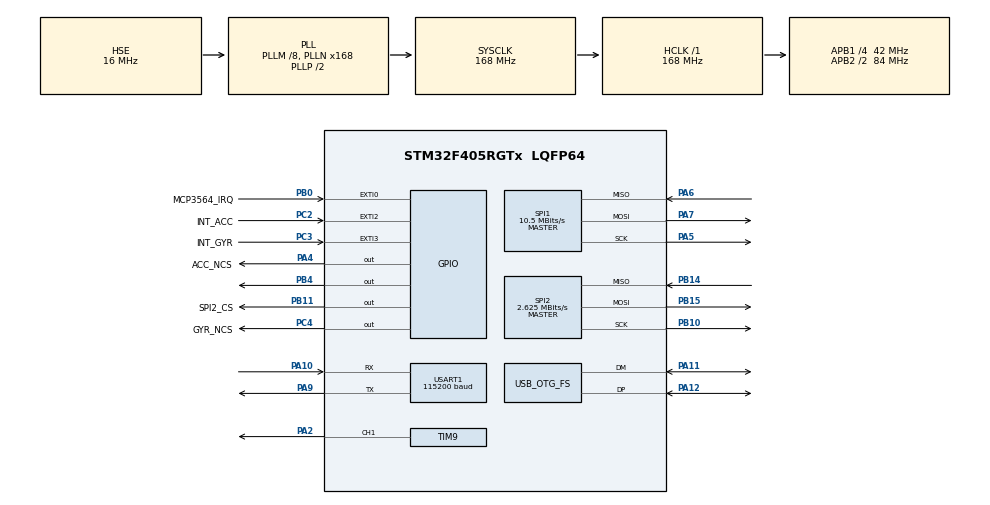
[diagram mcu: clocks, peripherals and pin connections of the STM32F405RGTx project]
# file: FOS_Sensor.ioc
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Dma.Request0=SPI1_RX
Dma.Request1=SPI1_TX
Dma.Request2=USART1_TX
Dma.Request3=SPI2_RX
Dma.Request4=SPI2_TX
Dma.SPI1_RX.0.Direction=DMA_PERIPH_TO_MEMORY
Dma.SPI1_RX.0.FIFOMode=DMA_FIFOMODE_DISABLE
Dma.SPI1_RX.0.Instance=DMA2_Stream0
Dma.SPI1_RX.0.MemDataAlignment=DMA_MDATAALIGN_BYTE
Dma.SPI1_RX.0.MemInc=DMA_MINC_ENABLE
Dma.SPI1_RX.0.Mode=DMA_NORMAL
Dma.SPI1_RX.0.PeriphDataAlignment=DMA_PDATAALIGN_BYTE
Dma.SPI1_RX.0.PeriphInc=DMA_PINC_DISABLE
Dma.SPI1_RX.0.Priority=DMA_PRIORITY_HIGH
Dma.SPI1_TX.1.Direction=DMA_MEMORY_TO_PERIPH
Dma.SPI1_TX.1.FIFOMode=DMA_FIFOMODE_DISABLE
Dma.SPI1_TX.1.Instance=DMA2_Stream3
Dma.SPI1_TX.1.MemDataAlignment=DMA_MDATAALIGN_BYTE
Dma.SPI1_TX.1.MemInc=DMA_MINC_ENABLE
Dma.SPI1_TX.1.Mode=DMA_NORMAL
Dma.SPI1_TX.1.PeriphDataAlignment=DMA_PDATAALIGN_BYTE
Dma.SPI1_TX.1.PeriphInc=DMA_PINC_DISABLE
Dma.SPI1_TX.1.Priority=DMA_PRIORITY_MEDIUM
Dma.SPI2_RX.3.Direction=DMA_PERIPH_TO_MEMORY
Dma.SPI2_RX.3.FIFOMode=DMA_FIFOMODE_DISABLE
Dma.SPI2_RX.3.Instance=DMA1_Stream3
Dma.SPI2_RX.3.MemDataAlignment=DMA_MDATAALIGN_BYTE
Dma.SPI2_RX.3.MemInc=DMA_MINC_ENABLE
Dma.SPI2_RX.3.Mode=DMA_NORMAL
Dma.SPI2_RX.3.PeriphDataAlignment=DMA_PDATAALIGN_BYTE
Dma.SPI2_RX.3.PeriphInc=DMA_PINC_DISABLE
Dma.SPI2_RX.3.Priority=DMA_PRIORITY_VERY_HIGH
Dma.SPI2_TX.4.Direction=DMA_MEMORY_TO_PERIPH
Dma.SPI2_TX.4.FIFOMode=DMA_FIFOMODE_DISABLE
Dma.SPI2_TX.4.Instance=DMA1_Stream4
Dma.SPI2_TX.4.MemDataAlignment=DMA_MDATAALIGN_BYTE
Dma.SPI2_TX.4.MemInc=DMA_MINC_ENABLE
Dma.SPI2_TX.4.Mode=DMA_NORMAL
Dma.SPI2_TX.4.PeriphDataAlignment=DMA_PDATAALIGN_BYTE
Dma.SPI2_TX.4.PeriphInc=DMA_PINC_DISABLE
Dma.SPI2_TX.4.Priority=DMA_PRIORITY_VERY_HIGH
Dma.USART1_TX.2.Direction=DMA_MEMORY_TO_PERIPH
Dma.USART1_TX.2.FIFOMode=DMA_FIFOMODE_DISABLE
Dma.USART1_TX.2.Instance=DMA2_Stream7
Dma.USART1_TX.2.MemDataAlignment=DMA_MDATAALIGN_BYTE
Dma.USART1_TX.2.MemInc=DMA_MINC_ENABLE
Dma.USART1_TX.2.Mode=DMA_NORMAL
Dma.USART1_TX.2.PeriphDataAlignment=DMA_PDATAALIGN_BYTE
Dma.USART1_TX.2.PeriphInc=DMA_PINC_DISABLE
Dma.USART1_TX.2.Priority=DMA_PRIORITY_LOW
Mcu.Family=STM32F4
Mcu.Name=STM32F405RGTx
Mcu.Package=LQFP64
NVIC.DMA1_Stream3_IRQn=true\:0\:0\:false\:false\:true\:false\:true\:true
NVIC.DMA1_Stream4_IRQn=true\:0\:0\:false\:false\:true\:false\:true\:true
NVIC.DMA2_Stream0_IRQn=true\:0\:0\:false\:false\:true\:false\:true\:true
NVIC.DMA2_Stream3_IRQn=true\:0\:0\:false\:false\:true\:false\:true\:true
NVIC.DMA2_Stream7_IRQn=true\:0\:0\:false\:false\:true\:false\:true\:true
NVIC.EXTI0_IRQn=true\:0\:0\:false\:false\:true\:true\:true\:true
NVIC.EXTI2_IRQn=true\:0\:0\:true\:false\:true\:true\:true\:true
NVIC.EXTI3_IRQn=true\:0\:0\:true\:false\:true\:true\:true\:true
NVIC.OTG_FS_IRQn=true\:0\:0\:false\:false\:true\:false\:true\:true
NVIC.PriorityGroup=NVIC_PRIORITYGROUP_4
NVIC.SPI1_IRQn=true\:0\:0\:false\:false\:true\:true\:true\:true
NVIC.SPI2_IRQn=true\:0\:0\:false\:false\:true\:true\:true\:true
NVIC.TIM2_IRQn=true\:0\:0\:false\:false\:true\:true\:true\:true
NVIC.TIM3_IRQn=true\:0\:0\:false\:false\:true\:true\:true\:true
NVIC.TIM4_IRQn=true\:0\:0\:false\:false\:true\:true\:true\:true
NVIC.USART1_IRQn=true\:0\:0\:false\:false\:true\:true\:true\:true
PA10.Mode=Asynchronous
PA10.Signal=USART1_RX
PA11.Mode=Device_Only
PA11.Signal=USB_OTG_FS_DM
PA12.Mode=Device_Only
PA12.Signal=USB_OTG_FS_DP
PA13.Mode=Trace_Asynchronous_SW
PA13.Signal=SYS_JTMS-SWDIO
PA14.Mode=Trace_Asynchronous_SW
PA14.Signal=SYS_JTCK-SWCLK
PA2.Signal=S_TIM9_CH1
PA4.GPIO_Label=ACC_NCS
PA4.Signal=GPIO_Output
PA5.Mode=Full_Duplex_Master
PA5.Signal=SPI1_SCK
PA6.Mode=Full_Duplex_Master
PA6.Signal=SPI1_MISO
PA7.Mode=Full_Duplex_Master
PA7.Signal=SPI1_MOSI
PA9.Mode=Asynchronous
PA9.Signal=USART1_TX
PB0.GPIO_Label=MCP3564_IRQ
PB0.GPIO_ModeDefaultEXTI=GPIO_MODE_IT_FALLING
PB0.Signal=GPXTI0
PB10.Mode=Full_Duplex_Master
PB10.Signal=SPI2_SCK
PB11.GPIO_Label=SPI2_CS
PB11.Signal=GPIO_Output
PB14.Mode=Full_Duplex_Master
PB14.Signal=SPI2_MISO
PB15.Mode=Full_Duplex_Master
PB15.Signal=SPI2_MOSI
PB3.Mode=Trace_Asynchronous_SW
PB3.Signal=SYS_JTDO-SWO
PB4.Signal=GPIO_Output
PC2.GPIO_Label=INT_ACC
PC2.Signal=GPXTI2
PC3.GPIO_Label=INT_GYR
PC3.Signal=GPXTI3
PC4.GPIO_Label=GYR_NCS
PC4.Signal=GPIO_Output
PH0-OSC_IN.Mode=HSE-External-Oscillator
PH0-OSC_IN.Signal=RCC_OSC_IN
PH1-OSC_OUT.Mode=HSE-External-Oscillator
PH1-OSC_OUT.Signal=RCC_OSC_OUT
ProjectManager.HeapSize=0x200
ProjectManager.StackSize=0x400
ProjectManager.TargetToolchain=STM32CubeIDE
RCC.48MHZClocksFreq_Value=48000000
RCC.AHBFreq_Value=168000000
RCC.APB1CLKDivider=RCC_HCLK_DIV4
RCC.APB1Freq_Value=42000000
RCC.APB1TimFreq_Value=84000000
RCC.APB2CLKDivider=RCC_HCLK_DIV2
RCC.APB2Freq_Value=84000000
RCC.APB2TimFreq_Value=168000000
RCC.CortexFreq_Value=168000000
RCC.HCLKFreq_Value=168000000
RCC.HSE_VALUE=16000000
RCC.HSI_VALUE=16000000
RCC.LSE_VALUE=32768
RCC.PLLM=8
RCC.PLLN=168
RCC.PLLQ=7
RCC.SYSCLKFreq_VALUE=168000000
RCC.SYSCLKSource=RCC_SYSCLKSOURCE_PLLCLK
RCC.VCOOutputFreq_Value=336000000
SH.S_TIM9_CH1.0=TIM9_CH1,Output Compare1 CH1
SPI1.BaudRatePrescaler=SPI_BAUDRATEPRESCALER_8
SPI1.CalculateBaudRate=10.5 MBits/s
SPI1.Direction=SPI_DIRECTION_2LINES
SPI1.Mode=SPI_MODE_MASTER
SPI1.VirtualType=VM_MASTER
SPI2.BaudRatePrescaler=SPI_BAUDRATEPRESCALER_16
SPI2.CalculateBaudRate=2.625 MBits/s
SPI2.Direction=SPI_DIRECTION_2LINES
SPI2.Mode=SPI_MODE_MASTER
SPI2.VirtualType=VM_MASTER
TIM2.Period=10000-1
TIM2.Prescaler=42-1
TIM3.Period=10000-1
TIM3.Prescaler=42-1
TIM4.Period=10000-1
TIM4.Prescaler=42-1
TIM9.Channel-Output\ Compare1\ CH1=TIM_CHANNEL_1
TIM9.OCMode_1=TIM_OCMODE_TOGGLE
TIM9.Period=17-1
TIM9.Prescaler=0
USART1.BaudRate=115200
USART1.VirtualMode=VM_ASYNC
USB_DEVICE.APP_RX_DATA_SIZE-CDC_FS=2048
USB_DEVICE.APP_TX_DATA_SIZE-CDC_FS=2048
USB_DEVICE.CLASS_NAME_FS=CDC
USB_DEVICE.USBD_MAX_NUM_INTERFACES-CDC_FS=1
USB_DEVICE.VirtualMode-CDC_FS=Cdc
USB_DEVICE.VirtualModeFS=Cdc_FS
USB_OTG_FS.VirtualMode=Device_Only
VP_TIM2_VS_ClockSourceINT.Mode=Internal
VP_TIM3_VS_ClockSourceINT.Mode=Internal
VP_TIM4_VS_ClockSourceINT.Mode=Internal
VP_TIM9_VS_ClockSourceINT.Mode=Internal
VP_USB_DEVICE_VS_USB_DEVICE_CDC_FS.Mode=CDC_FS
board=custom

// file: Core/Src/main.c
/* USER CODE BEGIN Header */
/**
  ******************************************************************************
  * @file           : main.c
  * @brief          : Main program body
  * @autor			: CriIera
  ******************************************************************************
  * @attention
  *
  * Copyright (c) 2025 STMicroelectronics.
  * All rights reserved.
  *
  * This software is licensed under terms that can be found in the LICENSE file
  * in the root directory of this software component.
  * If no LICENSE file comes with this software, it is provided AS-IS.
  *
  ******************************************************************************
  */
/* USER CODE END Header */
#include "main.h"
#include "usb_device.h"

/* USER CODE BEGIN Includes */
#include "usbd_cdc_if.h"
#include "BMI088.h"
#include <stdio.h>
//#include "EKF.h"
#include "ComputeOrientation.h"
#include "Filters.h"
#include "MadgwickAHRS.h"
#include <math.h>
#include "string.h"
#include "stdlib.h"
#include "mcp3564.h"

//#ifdef USE_SERIAL
	//#include "Serial_Comm.h"
//#endif //USE_SERIAL
//#ifdef USE_API
	//#include "API_Comm.h"
//#endif //USE_API

/* USER CODE END Includes */

/* USER CODE BEGIN PD */
//#define SERIAL_OR_API  		0 	// 0 if we use API
								// 1 if we use SERIAL

//#define SAMPLE_TIME_MS_USB  	10
uint32_t SAMPLE_TIME_MS_TOGGLE = 1000;	// For blinking led (to debug the code with the function Toggle(__))

/* USER CODE END PD */

SPI_HandleTypeDef hspi1;
SPI_HandleTypeDef hspi2;
DMA_HandleTypeDef hdma_spi1_rx;
DMA_HandleTypeDef hdma_spi1_tx;
DMA_HandleTypeDef hdma_spi2_rx;
DMA_HandleTypeDef hdma_spi2_tx;

TIM_HandleTypeDef htim2;
TIM_HandleTypeDef htim3;
TIM_HandleTypeDef htim4;
TIM_HandleTypeDef htim9;

UART_HandleTypeDef huart1;
DMA_HandleTypeDef hdma_usart1_tx;

/* USER CODE BEGIN PV */
BMI088 imu;
LPF_FILTER filt;	// Filter object of IMU sensor

/* USER CODE END PV */

void SystemClock_Config(void);
static void MX_GPIO_Init(void);
static void MX_DMA_Init(void);
static void MX_SPI1_Init(void);
static void MX_TIM2_Init(void);
static void MX_TIM3_Init(void);
static void MX_USART1_UART_Init(void);
static void MX_TIM4_Init(void);
static void MX_SPI2_Init(void);
static void MX_TIM9_Init(void);

/* USER CODE BEGIN 0 */

/////////////////////////////////////////////////////////////////////////////////////////////////////////////////
/////// GLOBAL VARIABLES ////////////////////////////////////////////////////////////////////////////////////////
/////////////////////////////////////////////////////////////////////////////////////////////////////////////////
/*------------------------------------------------------------------------*/
/* Clock and period, frequency, params of timers */
const float f_CK = 84000000; 				// [Hz] clock frequency. See .ioc files
float T_TIM2 = 0;							// seconds. This is the call period of the timer TIM2
float F_TIM2 = 0;

uint32_t timestamp_TIM3 = 0;				// Number of times that TIM3 is called (for debug)
uint32_t timestamp_TIM2 = 0;				// Number of times that TIM2 is called (for debug)
uint32_t measureTick = 0;					// Tick corresponding to the timestamp of the current measurement

/*------------------------------------------------------------------------*/
/* Variables for algorithms */
Quaternion q = {1, 0, 0, 0}; 				// Variable for madgwick algorithm. {1,0,0,0} is the Initial state --> not moving

/*------------------------------------------------------------------------*/
/* Shared variables and string to be sent format */
#define PACKET_HEADER 0xAABBCCDD		// header of the packet sent by UART to ESP32
#define PACKET_FOOTER 0XEE8899FF		// footer of the packet sent by UART to ESP32
BinaryPacket pkt;

/*------------------------------------------------------------------------*/
/* Timers */
uint32_t timerUSB = 0;
uint32_t timerToggle = 0;

/*------------------------------------------------------------------------*/
/* Filter params LPF and HPF (Currently the HPF is not used and to correct in "Filters.h")*/
float f_LP_gyr = 5.0f; // LP freq cut frequency in Hz of gyro
float f_LP_acc = 5.0f; // LP freq cut frequency in Hz of acc
float f_LP_angles = 5.0f;  // LP freq cut frequency in Hz of angles values calculation

float f_HP_gyr = 0.0001f; // HP freq cut frequency in Hz of gyro
float f_HP_acc = 0.0001f; // HP freq cut frequency in Hz of acc

/*------------------------------------------------------------------------*/
/* UART rx communication */
/*#define RX_BUFFER_SIZE 32		// dimension of the buffer. the string from ESP32 must have a length
char rx_uart_buff[64];
*/
#define UART_RX_BUFFER_SIZE 64
uint8_t rx_uart_buff[UART_RX_BUFFER_SIZE];
uint8_t rx_byte;
uint16_t rx_index = 0;

/*------------------------------------------------------------------------*/
/* MCP3564R Sensor params */
float adc[4];			// Voltage value of the mesurement of different channels
uint8_t allDiffCh = 0;		// if 1 it means that we are ready for sending data

/*------------------------------------------------------------------------*/

////////////////////////////////////////////////////////////////////////////////////////////////////////////////////////
/////// FUNCTIONS //////////////////////////////////////////////////////////////////////////////////////////////////////
////////////////////////////////////////////////////////////////////////////////////////////////////////////////////////
//++++++++++++++++++++++++++++++++++++++++++++++++++++++++++++++++++++++++++++++++++++++++++++++++++++++++++++++++
//++++++ PRIORITIES SETTINGS +++++++++++++++++++++++++++++++++++++++++++++++++++++++++++++++++++++++++++++++++++++
//++++++++++++++++++++++++++++++++++++++++++++++++++++++++++++++++++++++++++++++++++++++++++++++++++++++++++++++++
void SetPriorities(void)
{
	 HAL_NVIC_SetPriorityGrouping(NVIC_PRIORITYGROUP_2);

	  // DMA: max priority
	  HAL_NVIC_SetPriority(DMA2_Stream0_IRQn, 0, 0);
	  HAL_NVIC_SetPriority(DMA2_Stream3_IRQn, 0, 2);
	  HAL_NVIC_SetPriority(DMA1_Stream3_IRQn, 0, 1);   // RX SPI2
	  HAL_NVIC_SetPriority(DMA1_Stream4_IRQn, 0, 3);   // TX SPI2

	  // USB CDC (OTG_FS) - high but under DMA
	  HAL_NVIC_SetPriority(OTG_FS_IRQn, 0, 4);

	  // EXTI (GPIO sensors)
	  HAL_NVIC_SetPriority(EXTI2_IRQn, 1, 0);
	  HAL_NVIC_SetPriority(EXTI3_IRQn, 1, 1);
	  HAL_NVIC_SetPriority(EXTI4_IRQn, 1, 2);

	  // UART (commands and debug)
	  HAL_NVIC_SetPriority(USART1_IRQn, 1, 3);

	  // Timer - low priority
	  HAL_NVIC_SetPriority(TIM4_IRQn, 2, 0);
	  HAL_NVIC_SetPriority(TIM2_IRQn, 2, 1);  // If we use TIM2

	  // Enable
	  HAL_NVIC_EnableIRQ(DMA2_Stream0_IRQn);
	  HAL_NVIC_EnableIRQ(DMA2_Stream3_IRQn);
	  HAL_NVIC_EnableIRQ(DMA1_Stream3_IRQn);
	  HAL_NVIC_EnableIRQ(DMA1_Stream4_IRQn);
	  HAL_NVIC_EnableIRQ(OTG_FS_IRQn);
	  HAL_NVIC_EnableIRQ(EXTI2_IRQn);
	  HAL_NVIC_EnableIRQ(EXTI3_IRQn);
	  HAL_NVIC_EnableIRQ(EXTI4_IRQn);
	  HAL_NVIC_EnableIRQ(USART1_IRQn);
	  HAL_NVIC_EnableIRQ(TIM4_IRQn);
	  HAL_NVIC_EnableIRQ(TIM2_IRQn);
}

//++++++++++++++++++++++++++++++++++++++++++++++++++++++++++++++++++++++++++++++++++++++++++++++++++++++++++++++++
//+++++ DEBUG FUNCTIONS ++++++++++++++++++++++++++++++++++++++++++++++++++++++++++++++++++++++++++++++++++++++++++
//++++++++++++++++++++++++++++++++++++++++++++++++++++++++++++++++++++++++++++++++++++++++++++++++++++++++++++++++
/// Function that toggles the led of the board to show if the device is working
void Toggle(uint32_t waitingTime)
{
	// Toggle to show if the code is running
	if ((HAL_GetTick() - timerToggle) >= waitingTime)
	{
		HAL_GPIO_TogglePin(GPIOB, GPIO_PIN_4);
		timerToggle = HAL_GetTick();
	}
	timerUSB = HAL_GetTick();
}
/**
 * @brief Prints the contents of a BinaryPacket in hexadecimal format over USB CDC.
 *
 * This function takes a pointer to a BinaryPacket structure, converts its content
 * to hexadecimal representation, and sends it over USB (CDC_Transmit_FS). The output
 * is split into lines of 48 bytes for readability. Each byte is printed as two hex digits
 * followed by a space. A carriage return and newline ("\r\n") is inserted at the end of each line.
 *
 * @param[in] p Pointer to the BinaryPacket structure to be printed.
 */
void print_packet_hex(BinaryPacket* p) {
    uint8_t* bytePtr = (uint8_t*)p;       ///< Pointer to the raw bytes of the packet
    char buffer[248];                     ///< Temporary buffer to hold the formatted string
    int len = 0;                          ///< Current length of the buffer

    for (int i = 0; i < sizeof(BinaryPacket); i++) {
        // Format one byte as two hexadecimal characters followed by a space
        len += snprintf((char*)&buffer[len], sizeof(buffer) - len, "%02X ", bytePtr[i]);

        // Send a line every 48 bytes or at the end of the packet
        if ((i + 1) % 48 == 0 || i == sizeof(BinaryPacket) - 1) {
            buffer[len++] = '\r';
            buffer[len++] = '\n';

            // Transmit the formatted buffer over USB CDC
            CDC_Transmit_FS((uint8_t*)buffer, len);

            // Reset buffer length for the next line
            len = 0;

            // Optional small delay to prevent USB buffer overflow
            // HAL_Delay(1);
        }
    }
}

void Debug_SPI_DMA()
{

  	HAL_SPI_StateTypeDef spiState = imu.spiHandle->State;
  	HAL_DMA_StateTypeDef dmaRxState = imu.spiHandle->hdmarx->State;

  	char txBuff[32];
  	sprintf(txBuff, "%u\t%u\n\r", spiState, dmaRxState);
  	while(CDC_Transmit_FS((uint8_t *) txBuff, strlen(txBuff)) == HAL_BUSY);

  	if (__HAL_DMA_GET_IT_SOURCE(imu.spiHandle->hdmarx, DMA_IT_TC) == RESET)
  	{
  		sprintf(txBuff, "#\n\r");
  		while(CDC_Transmit_FS((uint8_t *) txBuff, strlen(txBuff)) == HAL_BUSY);
  	}
}

//++++++++++++++++++++++++++++++++++++++++++++++++++++++++++++++++++++++++++++++++++++++++++++++++++++++++++++++++
//++++++++++++++++++++++++++++++++++++++++++++++++++++++++++++++++++++++++++++++++++++++++++++++++++++++++++++++++
//+++++ CALLBACK FUNCTIONS +++++++++++++++++++++++++++++++++++++++++++++++++++++++++++++++++++++++++++++++++++++++
//++++++++++++++++++++++++++++++++++++++++++++++++++++++++++++++++++++++++++++++++++++++++++++++++++++++++++++++++
/**
 * @brief UART receive complete callback.
 *
 * This function is called automatically by the HAL library when a UART receive interrupt completes.
 * It accumulates characters into a buffer until a newline or carriage return is received,
 * at which point it null-terminates the string and passes it to the handler.
 *
 * @param huart Pointer to the UART handle structure.
 */
void HAL_UART_RxCpltCallback(UART_HandleTypeDef *huart)
{
    if (huart->Instance == USART1)
    {
        // Check if the received byte is a newline or carriage return
        if (rx_byte == '\n' || rx_byte == '\r')
        {
            rx_uart_buff[rx_index] = '\0';  // Null-terminate the string
            HandleReceivedString((char*)rx_uart_buff);  // Process the received string
            rx_index = 0;  // Reset the buffer index
        }
        else
        {
            // Store the received byte if there's room in the buffer
            if (rx_index < UART_RX_BUFFER_SIZE - 1)
            {
                rx_uart_buff[rx_index++] = rx_byte;
            }
            else
            {
                rx_index = 0;  // Reset index to prevent buffer overflow
            }
        }

        // Restart the UART receive interrupt to get the next byte
        HAL_UART_Receive_IT(&huart1, &rx_byte, 1);
    }
}

/**
 * @brief External interrupt callback.
 *
 * This function is called when a GPIO external interrupt is triggered.
 * It identifies which pin caused the interrupt and starts a corresponding DMA read operation.
 *
 * @param GPIO_Pin The GPIO pin number that triggered the interrupt.
 */
/// DMA Start Reading
void HAL_GPIO_EXTI_Callback(uint16_t GPIO_Pin)
{   // we have an interrupt
	if(GPIO_Pin == INT_ACC_Pin)				/// DMA2
	{
		// we check if the interrupt pin is the accelerometer one
		if (!imu.readingAcc)
			BMI088_ReadAccelerometerDMA(&imu);	// if yes read from the DMA memory
	}
	else if(GPIO_Pin == INT_GYR_Pin)	/// DMA2
	{
		// we check if the interrupt pin is the gyroscope one
		if (!imu.readingGyr)
			BMI088_ReadGyroscopeDMA(&imu);  // if yes read from the DMA memory
	}
	else if (GPIO_Pin == MCP3564_IRQ_Pin) {	/// DMA1
		// interrupt from ADC MCP3564R
		MCP3561_StartReadADCData_DMA(&hspi2);	// Start reading with DMA1
		// allDiffCh = MCP3561_ReadADCData(&hspi2, pkt.adc); // It read the value from the sensor MCP3564R and writes into adc[4]
	}
}

/**
 * @brief SPI transmit/receive complete callback.
 *
 * This function is called when a SPI TxRx (transmit/receive) DMA transfer is completed.
 * It handles the post-transfer logic for both SPI1 (IMU) and SPI2 (ADC).
 *
 * @param hspi Pointer to the SPI handle that triggered the callback.
 */
/// DMA CALLBACK
void HAL_SPI_TxRxCpltCallback(SPI_HandleTypeDef *hspi)		// It tells us that the transfer has been completed
{
	if(hspi->Instance == SPI1)	// SPI1 used for Acc and Gyro
	{
		if (imu.readingAcc)
		{
			// complete processing after accelerometer DMA transfer
			BMI088_ReadAccelerometerDMA_Complete(&imu);
		}

		if (imu.readingGyr)
		{
			// complete processing after gyroscope DMA transfer
			BMI088_ReadGyroscopeDMA_Complete(&imu);
		}
	}
	if (hspi->Instance == SPI2)	// SPI2 used for MCP3564R sensor
	{
		// deselect the MCP3564R chip
		HAL_GPIO_WritePin(SPI2_CS_GPIO_Port, SPI2_CS_Pin, GPIO_PIN_SET);
		// read ADC data from MCP3564R and update global adc[4]
		allDiffCh = MCP3561_ReadADCData_DMA(&hspi2, pkt.adc);	// It changes the global variable adc[4] with the updated values
	}
}

/**
 * @brief Timer period elapsed callback.
 *
 * This function is called by the HAL when a timer overflows (period elapsed).
 * It handles multiple timers:
 * - TIM2: Reads IMU data, filters it, and computes orientation using Madgwick algorithm.
 * - TIM3: Sends formatted IMU and ADC data over USB CDC.
 * - TIM4: Sends raw binary packet via UART using DMA.
 *
 * @param htim Pointer to the timer handle.
 */
/// TIMERS CALLBACK
void HAL_TIM_PeriodElapsedCallback(TIM_HandleTypeDef *htim)
{
	// Calculate angles with quaternions
    if(htim->Instance == TIM2)
    {
    	timestamp_TIM2++;	// how many times TIM2 is called (not used yet)
        // Code to execute at constant sample rate
        Take_IMU_Measurements(&imu, &pkt);

        /// Filtering Gyro and Acc measurements
        filt = LPF_GyrAcc_Update_All(&filt, pkt.gyr, pkt.acc);

		/// Algorithm application to find angles
        MadgwickAHRSupdateIMU(pkt.gyr[0], pkt.gyr[1], pkt.gyr[2], pkt.acc[0], pkt.acc[1], pkt.acc[2], F_TIM2);
        q.w = q0; q.x = q1; q.y = q2; q.z = q3;
        QuaternionToEuler(q, pkt.ang);

        /* LPF Filtering angles */
        //filt = LPF_Angles_Update_All(&filt, angles);

    }

    // Send data with CDC_Transfer_FS --> if enabled <-- !!!
    if(htim->Instance == TIM3)
	{
    	timestamp_TIM3++;	// how many times TIM3 is called (not used yet)

    	// Send every data using just one string and one TX
		static char txBuff[256];
		sprintf(txBuff, "A,%lu,%.4f,%.4f,%.4f\r\nI,%lu,%.4f,%.4f,%.4f,%.4f,%.4f,%.4f\r\nS,%lu,%.4f,%.4f,%.4f,%.4f\r\n",
					measureTick, pkt.ang[0], pkt.ang[1], pkt.ang[2],
					measureTick, pkt.gyr[0], pkt.gyr[1], pkt.gyr[2], pkt.acc[0], pkt.acc[1], pkt.acc[2],
					measureTick, pkt.adc[0], pkt.adc[1], pkt.adc[2], pkt.adc[3]);
				//measureTick, pkt.abs_acc); // I send the abs_acc instead the temperature just to plot it in the API graph
		CDC_Transmit_FS((uint8_t *) txBuff, strlen(txBuff));
	}

    if (htim->Instance == TIM4)
	{

    	/*------- SEND STRING --------------------------*/
		/* If you want to send the string (too many bytes...) */
    /*	static char uartBuff[256];
		sprintf(uartBuff, "A,%lu,%.4f,%.4f,%.4f\r\nI,%lu,%.4f,%.4f,%.4f,%.4f,%.4f,%.4f\r\nS,%lu,%.4f,%.4f,%.4f,%.4f\r\n",
					measureTick, pkt.ang[0], pkt.ang[1], pkt.ang[2],
					measureTick, pkt.gyr[0], pkt.gyr[1], pkt.gyr[2], pkt.acc[0], pkt.acc[1], pkt.acc[2],
					measureTick, pkt.adc[0], pkt.adc[1], pkt.adc[2], pkt.adc[3]);

		HAL_UART_Transmit_DMA(&huart1, (uint8_t*)uartBuff, strlen(uartBuff));*/
		//CDC_Transmit_FS((uint8_t *) uartBuff, strlen(uartBuff));*/

    	/*------- SEND NUMBER --------------------------*/
    	pkt.header = PACKET_HEADER;
    	pkt.footer = PACKET_FOOTER;

    	/*// HEX data debug
    	pkt.timestamp = HAL_GetTick();		// 2846468521 --> A9A9A9A9
		pkt.ang[0] = 0;
		pkt.ang[1] = 0;
		pkt.ang[2] = 0;
		pkt.gyr[0] = 0;
		pkt.gyr[1] = 0;
		pkt.gyr[2] = 0;
		pkt.acc[0] = 0;  //-71.954;
		pkt.acc[1] = 0;  //-152.49;
		pkt.acc[2] = 0;  //-21.6;
		*/

    	//print_packet_hex(&pkt);		// Function to debug the sent HEX string
    	HAL_UART_Transmit_DMA(&huart1, (uint8_t*)&pkt, sizeof(pkt));

	}
}

//++++++++++++++++++++++++++++++++++++++++++++++++++++++++++++++++++++++++++++++++++++++++++++++++++++++++++++++++
//++++++++++++++++++++++++++++++++++++++++++++++++++++++++++++++++++++++++++++++++++++++++++++++++++++++++++++++++
//++++++++++++++++++++++++++++++++++++++++++++++++++++++++++++++++++++++++++++++++++++++++++++++++++++++++++++++++

/* USER CODE END 0 */

int main(void)
{

  /* MCU Configuration--------------------------------------------------------*/

  /* Reset of all peripherals, Initializes the Flash interface and the Systick. */
  HAL_Init();

  /* Configure the system clock */
  SystemClock_Config();

  /* Initialize all configured peripherals */
  MX_GPIO_Init();
  MX_DMA_Init();
  MX_SPI1_Init();
  MX_TIM2_Init();
  MX_USB_DEVICE_Init();
  MX_TIM3_Init();
  MX_USART1_UART_Init();
  MX_TIM4_Init();
  MX_SPI2_Init();
  MX_TIM9_Init();

  /* USER CODE BEGIN 2 */

  SetPriorities();	// function to set NVIC interrupt priorities

  HAL_Delay(500);	// wait for peripherals to stabilize

  /* ----- BMI088 and MADGWICK SETUP ------------------------------------------*/
  BMI088_Init(&imu, &hspi1, GPIOA, GPIO_PIN_4, GPIOC, GPIO_PIN_4);					// initialize BMI088 IMU (acc + gyro)
  SetQuaternionFromEuler(&q, 0, 0, 0);												// initialize quaternion from starting angles: roll=0, pitch=0, yaw=0
  Filter_Init(&filt, f_LP_gyr, f_LP_acc, f_HP_gyr, f_HP_acc, f_LP_angles, T_TIM2);	// init filters for gyro, accel and angles

  HAL_Delay(500);

  HAL_TIM_Base_Start_IT(&htim2);     // Start timer: executes Madgwick filter at fixed interval
  Init_BMI088_Bias(&imu, 1000000);	 // calculate sensor bias with given number of samples

  //HAL_TIM_Base_Start_IT(&htim3);   // Start timer: send data via USB CDC (optional)

  /* ----- MCP3564R SETUP ----------------------------------------------------- */
  HAL_TIM_Base_Start(&htim9);				// start TIM9 to generate external clock for MCP3564R
  HAL_TIM_OC_Start(&htim9, TIM_CHANNEL_1);	// enable PWM on channel 1 (CLK for ADC)
  HAL_Delay(20);

  MCP3561_Reset(&hspi2);					// reset ADC
  HAL_Delay(20);
  //MCP3561_PrintRegisters(&hspi2); 		// optional: print ADC registers for debug
  //printf("\n");

  MCP3561_Init(&hspi2);	// initialize ADC
  HAL_Delay(20);
  //MCP3561_PrintRegisters(&hspi2); 		// optional: print ADC registers again
  //printf("\n");
  HAL_Delay(2000);							// allow ADC to stabilize

  /* ----- START ESP32 TRANSMISSION --------------------------------------------*/
  HAL_TIM_Base_Start_IT(&htim4);     						// Start the UART transmission to ESP32 using DMA
  HAL_UART_Receive_IT(&huart1, (uint8_t*)rx_uart_buff, 1);	// Start UART reception interrupt

  /* -------------------------------------------------------------------------- */

  /* USER CODE END 2 */

  /* Infinite loop */
  /* USER CODE BEGIN WHILE */
  while (1)
  {
	//MCP3561_PrintRegisters(&hspi2); // For debug: continuous ADC register monitoring
	Toggle(SAMPLE_TIME_MS_TOGGLE); // toggles pin or state for debug timing

	/*if(allDiffCh)
	{
		printf("%.3f\t%.3f\t%.3f\t%.3f\n", pkt.adc[0], pkt.adc[1], pkt.adc[2], pkt.adc[3]);
		allDiffCh = 0;
	}*/

	//Debug_SPI_DMA(); // For debug: test SPI DMA transfer handling

    /* USER CODE END WHILE */

  }
}

void SystemClock_Config(void)
{
  RCC_OscInitTypeDef RCC_OscInitStruct = {0};
  RCC_ClkInitTypeDef RCC_ClkInitStruct = {0};

  /** Configure the main internal regulator output voltage
  */
  __HAL_RCC_PWR_CLK_ENABLE();
  __HAL_PWR_VOLTAGESCALING_CONFIG(PWR_REGULATOR_VOLTAGE_SCALE1);

  /** Initializes the RCC Oscillators according to the specified parameters
  * in the RCC_OscInitTypeDef structure.
  */
  RCC_OscInitStruct.OscillatorType = RCC_OSCILLATORTYPE_HSE;
  RCC_OscInitStruct.HSEState = RCC_HSE_ON;
  RCC_OscInitStruct.PLL.PLLState = RCC_PLL_ON;
  RCC_OscInitStruct.PLL.PLLSource = RCC_PLLSOURCE_HSE;
  RCC_OscInitStruct.PLL.PLLM = 8;
  RCC_OscInitStruct.PLL.PLLN = 168;
  RCC_OscInitStruct.PLL.PLLP = RCC_PLLP_DIV2;
  RCC_OscInitStruct.PLL.PLLQ = 7;
  if (HAL_RCC_OscConfig(&RCC_OscInitStruct) != HAL_OK)
  {
    Error_Handler();
  }

  /** Initializes the CPU, AHB and APB buses clocks
  */
  RCC_ClkInitStruct.ClockType = RCC_CLOCKTYPE_HCLK|RCC_CLOCKTYPE_SYSCLK
                              |RCC_CLOCKTYPE_PCLK1|RCC_CLOCKTYPE_PCLK2;
  RCC_ClkInitStruct.SYSCLKSource = RCC_SYSCLKSOURCE_PLLCLK;
  RCC_ClkInitStruct.AHBCLKDivider = RCC_SYSCLK_DIV1;
  RCC_ClkInitStruct.APB1CLKDivider = RCC_HCLK_DIV4;
  RCC_ClkInitStruct.APB2CLKDivider = RCC_HCLK_DIV2;

  if (HAL_RCC_ClockConfig(&RCC_ClkInitStruct, FLASH_LATENCY_5) != HAL_OK)
  {
    Error_Handler();
  }
}

static void MX_SPI1_Init(void)
{

  /* SPI1 parameter configuration*/
  hspi1.Instance = SPI1;
  hspi1.Init.Mode = SPI_MODE_MASTER;
  hspi1.Init.Direction = SPI_DIRECTION_2LINES;
  hspi1.Init.DataSize = SPI_DATASIZE_8BIT;
  hspi1.Init.CLKPolarity = SPI_POLARITY_LOW;
  hspi1.Init.CLKPhase = SPI_PHASE_1EDGE;
  hspi1.Init.NSS = SPI_NSS_SOFT;
  hspi1.Init.BaudRatePrescaler = SPI_BAUDRATEPRESCALER_8;
  hspi1.Init.FirstBit = SPI_FIRSTBIT_MSB;
  hspi1.Init.TIMode = SPI_TIMODE_DISABLE;
  hspi1.Init.CRCCalculation = SPI_CRCCALCULATION_DISABLE;
  hspi1.Init.CRCPolynomial = 10;
  if (HAL_SPI_Init(&hspi1) != HAL_OK)
  {
    Error_Handler();
  }

}

static void MX_SPI2_Init(void)
{

  /* SPI2 parameter configuration*/
  hspi2.Instance = SPI2;
  hspi2.Init.Mode = SPI_MODE_MASTER;
  hspi2.Init.Direction = SPI_DIRECTION_2LINES;
  hspi2.Init.DataSize = SPI_DATASIZE_8BIT;
  hspi2.Init.CLKPolarity = SPI_POLARITY_LOW;
  hspi2.Init.CLKPhase = SPI_PHASE_1EDGE;
  hspi2.Init.NSS = SPI_NSS_SOFT;
  hspi2.Init.BaudRatePrescaler = SPI_BAUDRATEPRESCALER_16;
  hspi2.Init.FirstBit = SPI_FIRSTBIT_MSB;
  hspi2.Init.TIMode = SPI_TIMODE_DISABLE;
  hspi2.Init.CRCCalculation = SPI_CRCCALCULATION_DISABLE;
  hspi2.Init.CRCPolynomial = 10;
  if (HAL_SPI_Init(&hspi2) != HAL_OK)
  {
    Error_Handler();
  }

}

static void MX_TIM2_Init(void)
{

  TIM_ClockConfigTypeDef sClockSourceConfig = {0};
  TIM_MasterConfigTypeDef sMasterConfig = {0};

  htim2.Instance = TIM2;
  htim2.Init.Prescaler = 42-1;
  htim2.Init.CounterMode = TIM_COUNTERMODE_UP;
  htim2.Init.Period = 10000-1;
  htim2.Init.ClockDivision = TIM_CLOCKDIVISION_DIV1;
  htim2.Init.AutoReloadPreload = TIM_AUTORELOAD_PRELOAD_DISABLE;
  if (HAL_TIM_Base_Init(&htim2) != HAL_OK)
  {
    Error_Handler();
  }
  sClockSourceConfig.ClockSource = TIM_CLOCKSOURCE_INTERNAL;
  if (HAL_TIM_ConfigClockSource(&htim2, &sClockSourceConfig) != HAL_OK)
  {
    Error_Handler();
  }
  sMasterConfig.MasterOutputTrigger = TIM_TRGO_RESET;
  sMasterConfig.MasterSlaveMode = TIM_MASTERSLAVEMODE_DISABLE;
  if (HAL_TIMEx_MasterConfigSynchronization(&htim2, &sMasterConfig) != HAL_OK)
  {
    Error_Handler();
  }
  /* USER CODE BEGIN TIM2_Init 2 */

  /* These following 2 lines calculate the Frequency and the Period of the Timer TIM2*/
	T_TIM2 = 1.0f / (f_CK / (float)((htim2.Init.Period +1 ) * htim2.Init.Prescaler + 1));
	F_TIM2 = 1 / T_TIM2;
  /* USER CODE END TIM2_Init 2 */

}

static void MX_TIM3_Init(void)
{

  TIM_ClockConfigTypeDef sClockSourceConfig = {0};
  TIM_MasterConfigTypeDef sMasterConfig = {0};

  htim3.Instance = TIM3;
  htim3.Init.Prescaler = 42-1;
  htim3.Init.CounterMode = TIM_COUNTERMODE_UP;
  htim3.Init.Period = 10000-1;
  htim3.Init.ClockDivision = TIM_CLOCKDIVISION_DIV1;
  htim3.Init.AutoReloadPreload = TIM_AUTORELOAD_PRELOAD_DISABLE;
  if (HAL_TIM_Base_Init(&htim3) != HAL_OK)
  {
    Error_Handler();
  }
  sClockSourceConfig.ClockSource = TIM_CLOCKSOURCE_INTERNAL;
  if (HAL_TIM_ConfigClockSource(&htim3, &sClockSourceConfig) != HAL_OK)
  {
    Error_Handler();
  }
  sMasterConfig.MasterOutputTrigger = TIM_TRGO_RESET;
  sMasterConfig.MasterSlaveMode = TIM_MASTERSLAVEMODE_DISABLE;
  if (HAL_TIMEx_MasterConfigSynchronization(&htim3, &sMasterConfig) != HAL_OK)
  {
    Error_Handler();
  }

}

static void MX_TIM4_Init(void)
{

  TIM_ClockConfigTypeDef sClockSourceConfig = {0};
  TIM_MasterConfigTypeDef sMasterConfig = {0};

  htim4.Instance = TIM4;
  htim4.Init.Prescaler = 42-1;
  htim4.Init.CounterMode = TIM_COUNTERMODE_UP;
  htim4.Init.Period = 10000-1;
  htim4.Init.ClockDivision = TIM_CLOCKDIVISION_DIV1;
  htim4.Init.AutoReloadPreload = TIM_AUTORELOAD_PRELOAD_DISABLE;
  if (HAL_TIM_Base_Init(&htim4) != HAL_OK)
  {
    Error_Handler();
  }
  sClockSourceConfig.ClockSource = TIM_CLOCKSOURCE_INTERNAL;
  if (HAL_TIM_ConfigClockSource(&htim4, &sClockSourceConfig) != HAL_OK)
  {
    Error_Handler();
  }
  sMasterConfig.MasterOutputTrigger = TIM_TRGO_RESET;
  sMasterConfig.MasterSlaveMode = TIM_MASTERSLAVEMODE_DISABLE;
  if (HAL_TIMEx_MasterConfigSynchronization(&htim4, &sMasterConfig) != HAL_OK)
  {
    Error_Handler();
  }

}

static void MX_TIM9_Init(void)
{

  TIM_ClockConfigTypeDef sClockSourceConfig = {0};
  TIM_OC_InitTypeDef sConfigOC = {0};

  htim9.Instance = TIM9;
  htim9.Init.Prescaler = 0;
  htim9.Init.CounterMode = TIM_COUNTERMODE_UP;
  htim9.Init.Period = 17-1;
  htim9.Init.ClockDivision = TIM_CLOCKDIVISION_DIV1;
  htim9.Init.AutoReloadPreload = TIM_AUTORELOAD_PRELOAD_DISABLE;
  if (HAL_TIM_Base_Init(&htim9) != HAL_OK)
  {
    Error_Handler();
  }
  sClockSourceConfig.ClockSource = TIM_CLOCKSOURCE_INTERNAL;
  if (HAL_TIM_ConfigClockSource(&htim9, &sClockSourceConfig) != HAL_OK)
  {
    Error_Handler();
  }
  if (HAL_TIM_OC_Init(&htim9) != HAL_OK)
  {
    Error_Handler();
  }
  sConfigOC.OCMode = TIM_OCMODE_TOGGLE;
  sConfigOC.Pulse = 0;
  sConfigOC.OCPolarity = TIM_OCPOLARITY_HIGH;
  sConfigOC.OCFastMode = TIM_OCFAST_DISABLE;
  if (HAL_TIM_OC_ConfigChannel(&htim9, &sConfigOC, TIM_CHANNEL_1) != HAL_OK)
  {
    Error_Handler();
  }
  HAL_TIM_MspPostInit(&htim9);

}

static void MX_USART1_UART_Init(void)
{

  huart1.Instance = USART1;
  huart1.Init.BaudRate = 115200;
  huart1.Init.WordLength = UART_WORDLENGTH_8B;
  huart1.Init.StopBits = UART_STOPBITS_1;
  huart1.Init.Parity = UART_PARITY_NONE;
  huart1.Init.Mode = UART_MODE_TX_RX;
  huart1.Init.HwFlowCtl = UART_HWCONTROL_NONE;
  huart1.Init.OverSampling = UART_OVERSAMPLING_16;
  if (HAL_UART_Init(&huart1) != HAL_OK)
  {
    Error_Handler();
  }

}

static void MX_DMA_Init(void)
{

  /* DMA controller clock enable */
  __HAL_RCC_DMA2_CLK_ENABLE();
  __HAL_RCC_DMA1_CLK_ENABLE();

  /* DMA interrupt init */
  /* DMA1_Stream3_IRQn interrupt configuration */
  HAL_NVIC_SetPriority(DMA1_Stream3_IRQn, 0, 0);
  HAL_NVIC_EnableIRQ(DMA1_Stream3_IRQn);
  /* DMA1_Stream4_IRQn interrupt configuration */
  HAL_NVIC_SetPriority(DMA1_Stream4_IRQn, 0, 0);
  HAL_NVIC_EnableIRQ(DMA1_Stream4_IRQn);
  /* DMA2_Stream0_IRQn interrupt configuration */
  HAL_NVIC_SetPriority(DMA2_Stream0_IRQn, 0, 0);
  HAL_NVIC_EnableIRQ(DMA2_Stream0_IRQn);
  /* DMA2_Stream3_IRQn interrupt configuration */
  HAL_NVIC_SetPriority(DMA2_Stream3_IRQn, 0, 0);
  HAL_NVIC_EnableIRQ(DMA2_Stream3_IRQn);
  /* DMA2_Stream7_IRQn interrupt configuration */
  HAL_NVIC_SetPriority(DMA2_Stream7_IRQn, 0, 0);
  HAL_NVIC_EnableIRQ(DMA2_Stream7_IRQn);

}

static void MX_GPIO_Init(void)
{
  GPIO_InitTypeDef GPIO_InitStruct = {0};

  /* GPIO Ports Clock Enable */
  __HAL_RCC_GPIOH_CLK_ENABLE();
  __HAL_RCC_GPIOC_CLK_ENABLE();
  __HAL_RCC_GPIOA_CLK_ENABLE();
  __HAL_RCC_GPIOB_CLK_ENABLE();

  /*Configure GPIO pin Output Level */
  HAL_GPIO_WritePin(ACC_NCS_GPIO_Port, ACC_NCS_Pin, GPIO_PIN_RESET);

  /*Configure GPIO pin Output Level */
  HAL_GPIO_WritePin(GYR_NCS_GPIO_Port, GYR_NCS_Pin, GPIO_PIN_RESET);

  /*Configure GPIO pin Output Level */
  HAL_GPIO_WritePin(GPIOB, SPI2_CS_Pin|GPIO_PIN_4, GPIO_PIN_RESET);

  /*Configure GPIO pins : INT_ACC_Pin INT_GYR_Pin */
  GPIO_InitStruct.Pin = INT_ACC_Pin|INT_GYR_Pin;
  GPIO_InitStruct.Mode = GPIO_MODE_IT_RISING;
  GPIO_InitStruct.Pull = GPIO_NOPULL;
  HAL_GPIO_Init(GPIOC, &GPIO_InitStruct);

  /*Configure GPIO pin : ACC_NCS_Pin */
  GPIO_InitStruct.Pin = ACC_NCS_Pin;
  GPIO_InitStruct.Mode = GPIO_MODE_OUTPUT_PP;
  GPIO_InitStruct.Pull = GPIO_NOPULL;
  GPIO_InitStruct.Speed = GPIO_SPEED_FREQ_LOW;
  HAL_GPIO_Init(ACC_NCS_GPIO_Port, &GPIO_InitStruct);

  /*Configure GPIO pin : GYR_NCS_Pin */
  GPIO_InitStruct.Pin = GYR_NCS_Pin;
  GPIO_InitStruct.Mode = GPIO_MODE_OUTPUT_PP;
  GPIO_InitStruct.Pull = GPIO_NOPULL;
  GPIO_InitStruct.Speed = GPIO_SPEED_FREQ_LOW;
  HAL_GPIO_Init(GYR_NCS_GPIO_Port, &GPIO_InitStruct);

  /*Configure GPIO pin : MCP3564_IRQ_Pin */
  GPIO_InitStruct.Pin = MCP3564_IRQ_Pin;
  GPIO_InitStruct.Mode = GPIO_MODE_IT_FALLING;
  GPIO_InitStruct.Pull = GPIO_NOPULL;
  HAL_GPIO_Init(MCP3564_IRQ_GPIO_Port, &GPIO_InitStruct);

  /*Configure GPIO pins : SPI2_CS_Pin PB4 */
  GPIO_InitStruct.Pin = SPI2_CS_Pin|GPIO_PIN_4;
  GPIO_InitStruct.Mode = GPIO_MODE_OUTPUT_PP;
  GPIO_InitStruct.Pull = GPIO_NOPULL;
  GPIO_InitStruct.Speed = GPIO_SPEED_FREQ_LOW;
  HAL_GPIO_Init(GPIOB, &GPIO_InitStruct);

  /* EXTI interrupt init*/
  HAL_NVIC_SetPriority(EXTI0_IRQn, 0, 0);
  HAL_NVIC_EnableIRQ(EXTI0_IRQn);

  HAL_NVIC_SetPriority(EXTI2_IRQn, 0, 0);
  HAL_NVIC_EnableIRQ(EXTI2_IRQn);

  HAL_NVIC_SetPriority(EXTI3_IRQn, 0, 0);
  HAL_NVIC_EnableIRQ(EXTI3_IRQn);

}

/* USER CODE BEGIN 4 */
// --- Static buffer for printf output redirection ---
// Define a suitable buffer size. A larger buffer can be more efficient for
// long printf strings, but consumes more RAM. 256 bytes is a common choice.
#define PRINTF_BUFFER_SIZE 256
static char s_printf_buffer[PRINTF_BUFFER_SIZE];
static int s_printf_buffer_idx = 0; // Current index in the buffer

/**
 * @brief  Retargets the C library printf function to the USB CDC.
 * This function is called by the printf family of functions
 * to output a single character. Characters are buffered and
 * transmitted when a newline is encountered or the buffer is full.
 * @param  ch: The character to be output.
 * @retval The character output.
 */
PUTCHAR_PROTOTYPE {
    // Optional: Add carriage return before newline if only newline is received.
    // This ensures proper line ending (\r\n) for terminals expecting it
    // when printf only outputs '\n'.
    if (ch == '\n') {
        if (s_printf_buffer_idx == 0 || s_printf_buffer[s_printf_buffer_idx - 1] != '\r') {
            // Ensure there's space for '\r' before adding it
            if (s_printf_buffer_idx < PRINTF_BUFFER_SIZE) {
                s_printf_buffer[s_printf_buffer_idx++] = '\r';
            }
        }
    }

    // Store the current character in the buffer
    // Ensure there's space for the character before adding it
    if (s_printf_buffer_idx < PRINTF_BUFFER_SIZE) {
        s_printf_buffer[s_printf_buffer_idx++] = (char)ch;
    }

    // Check if the buffer is full or if a newline character was received.
    // If either condition is true, transmit the buffered data.
    if (s_printf_buffer_idx >= PRINTF_BUFFER_SIZE || ch == '\n') {
        // Transmit the buffered data via USB CDC
        // The CDC_Transmit_FS function will handle the actual USB transfer.
        CDC_Transmit_FS((uint8_t*)s_printf_buffer, s_printf_buffer_idx);

        // Reset the buffer index after transmission
        s_printf_buffer_idx = 0;
    }

    return ch; // Return the character that was put
}

/* USER CODE END 4 */

void Error_Handler(void)
{
  /* USER CODE BEGIN Error_Handler_Debug */

	char txBuff[128];
	sprintf(txBuff, "SPI Error!");
	while(CDC_Transmit_FS((uint8_t *) txBuff, strlen(txBuff)) == HAL_BUSY);

  /* User can add his own implementation to report the HAL error return state */
  __disable_irq();
  while (1)
  {
  }
  /* USER CODE END Error_Handler_Debug */
}
